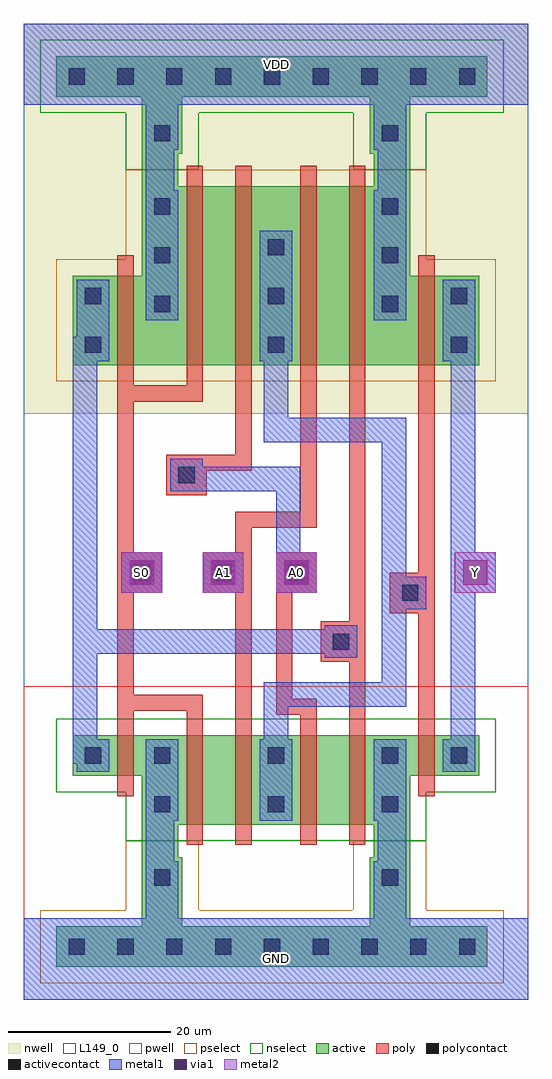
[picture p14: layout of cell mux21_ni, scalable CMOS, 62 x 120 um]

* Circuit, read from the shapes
.subckt mux21_ni A0 A1 GND S0 VDD Y
M1 GND S0 n1 GND nfet w=5u l=2u
M2 n2 S0 GND GND nfet w=11u l=2u
M3 n3 A1 n2 GND nfet w=11u l=2u
M4 n4 A0 n3 GND nfet w=11u l=2u
M5 GND n1 n4 GND nfet w=11u l=2u
M6 Y n3 GND GND nfet w=5u l=2u
M7 VDD S0 n1 VDD pfet w=11u l=2u
M8 n5 S0 VDD VDD pfet w=22u l=2u
M9 n3 A0 n5 VDD pfet w=22u l=2u
M10 n6 A1 n3 VDD pfet w=22u l=2u
M11 VDD n1 n6 VDD pfet w=22u l=2u
M12 Y n3 VDD VDD pfet w=11u l=2u
.ends

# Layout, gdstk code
import gdstk
lib = gdstk.Library(unit=1e-6, precision=1e-09)
def R(c, l, rs):  # rectangles x0, y0, x1, y1
    for r in rs: c.add(gdstk.rectangle(r[:2], r[2:], *l))
def A(c, l, x, y, w, h, nx, ny, dx, dy):  # array of equal rectangles
    R(c, l, [(x+i*dx, y+j*dy, x+i*dx+w, y+j*dy+h) for i in range(nx) for j in range(ny)])
def P(c, l, *ps):  # polygons
    for p in ps: c.add(gdstk.Polygon(p, *l))
pwell = (41, 0)
nwell = (42, 0)
active = (43, 0)
pselect = (44, 0)
nselect = (45, 0)
poly = (46, 0)
polycontact = (47, 0)
activecontact = (48, 0)
metal1 = (49, 0)
via1 = (50, 0)
metal2 = (51, 0)
L149_0 = (149, 0)

via = lib.new_cell('via')
R(via, metal1, [(-2.5,-2.5,2.5,2.5)])
R(via, via1, [(-1.5,-1.5,1.5,1.5)])
R(via, metal2, [(-2.5,-2.5,2.5,2.5)])

mux21_ni = lib.new_cell('mux21_ni')
R(mux21_ni, pwell, [(0,0,62,38.5)])
P(mux21_ni, pwell, [(8.5,15.5),(8.5,21.5),(0,21.5),(0,38.5),(62,38.5),(62,21.5),(53.5,21.5),(53.5,15.5)])
R(mux21_ni, nwell, [(0,72,62,120)])
P(mux21_ni, nwell, [(0,72),(0,95),(8.5,95),(8.5,106),(53.5,106),(53.5,95),(62,95),(62,72)])
R(mux21_ni, active, [(4,4,57,9), (14.5,9,19.5,17.5), (42.5,9,47.5,17.5), (14.5,17.5,19,21.5), (43,17.5,47.5,21.5), (6,27.5,11.5,32.5), (50.5,27.5,56,32.5), (6,78,11.5,89), (50.5,78,56,89), (14.5,100,19,104), (43,100,47.5,104), (14.5,104,19.5,111), (42.5,104,47.5,111), (4,111,57,116)])
P(mux21_ni, active, [(6,78),(6,89),(14.5,89),(14.5,100),(47.5,100),(47.5,89),(56,89),(56,78)],
  [(14.5,21.5),(14.5,27.5),(6,27.5),(6,32.5),(56,32.5),(56,27.5),(47.5,27.5),(47.5,21.5)])
R(mux21_ni, pselect, [(2,2,59,11), (12.5,11,21.5,19.5), (40.5,11,49.5,19.5)])
P(mux21_ni, pselect, [(4,76),(4,91),(12.5,91),(12.5,102),(49.5,102),(49.5,91),(58,91),(58,76)])
R(mux21_ni, nselect, [(12.5,102,21.5,109), (40.5,102,49.5,109), (2,109,59,118)])
P(mux21_ni, nselect, [(12.5,19.5),(12.5,25.5),(4,25.5),(4,34.5),(58,34.5),(58,25.5),(49.5,25.5),(49.5,19.5)])
R(mux21_ni, poly, [(20,19,22,21.5), (26,19,28,21.5), (34,19,36,21.5), (40,19,42,21.5), (20,21.5,22,32.5), (26,21.5,28,32.5), (34,21.5,36,32.5), (40,21.5,42,32.5), (11.5,25,13.5,27.5), (48.5,25,50.5,27.5), (11.5,27.5,13.5,32.5), (48.5,27.5,50.5,32.5), (11.5,32.5,13.5,35), (20,32.5,22,35), (26,32.5,28,35), (34,32.5,36,35), (40,32.5,42,35), (48.5,32.5,50.5,35), (36.5,41.5,41.5,46.5), (45,47.5,50,52.5), (12,50,17,55), (22,50,27,55), (31,50,36,55), (17.5,62,22.5,67), (11.5,75.5,13.5,78), (20,75.5,22,78), (26,75.5,28,78), (34,75.5,36,78), (40,75.5,42,78), (48.5,75.5,50.5,78), (11.5,78,13.5,89), (20,78,22,100), (26,78,28,100), (34,78,36,100), (40,78,42,100), (48.5,78,50.5,89), (11.5,89,13.5,91.5), (48.5,89,50.5,91.5), (20,100,22,102.5), (26,100,28,102.5), (34,100,36,102.5), (40,100,42,102.5)])
R(mux21_ni, polycontact, [(38,43,40,45), (46.5,49,48.5,51), (13.5,51.5,15.5,53.5), (23.5,51.5,25.5,53.5), (32.5,51.5,34.5,53.5), (19,63.5,21,65.5)])
A(mux21_ni, activecontact, 5.5, 5.5, 2, 2, 9, 2, 6, 107)
A(mux21_ni, activecontact, 16, 23, 2, 2, 3, 2, 14, 6)
A(mux21_ni, activecontact, 7.5, 79.5, 2, 2, 3, 2, 22.5, 6)
A(mux21_ni, activecontact, 16, 84.5, 2, 2, 1, 3, 0, 6)
A(mux21_ni, activecontact, 44, 84.5, 2, 2, 1, 3, 0, 6)
R(mux21_ni, activecontact, [(16,14,18,16), (44,14,46,16), (7.5,29,9.5,31), (52.5,29,54.5,31), (30,91.5,32,93.5), (16,105.5,18,107.5), (44,105.5,46,107.5)])
A(mux21_ni, metal1, 15, 22, 4, 10, 3, 1, 14, 0)
R(mux21_ni, metal1, [(0,0,62,10), (15,10,19,17), (43,10,47,17), (15,17,18.5,22), (43.5,17,47,22), (6.5,28,10.5,32), (51.5,28,55.5,32), (37,42,41,46), (45.5,48,49.5,52), (12.5,50.5,16.5,54.5), (22.5,50.5,26.5,54.5), (31.5,50.5,35.5,54.5), (18,62.5,22,66.5), (6.5,78.5,10.5,88.5), (29,78.5,33,94.5), (51.5,78.5,55.5,88.5), (15,83.5,19,99.5), (43,83.5,47,99.5), (15,99.5,18.5,104.5), (43.5,99.5,47,104.5), (15,104.5,19,110), (43,104.5,47,110), (0,110,62,120)])
R(mux21_ni, metal2, [(12,50,17,55), (22,50,27,55), (31,50,36,55), (53,50,58,55)])
R(mux21_ni, L149_0, [(0,0,62,120)])
mux21_ni.add(gdstk.FlexPath([(22,64),(32.5,64),(32.5,55)], 3, ends="flush", simple_path=True, layer=49, datatype=0))  # metal1
mux21_ni.add(gdstk.FlexPath([(37,44),(9,44)], 3, ends="flush", simple_path=True, layer=49, datatype=0))  # metal1
mux21_ni.add(gdstk.FlexPath([(7.5,81.5),(7.5,29)], 3, ends="flush", simple_path=True, layer=49, datatype=0))  # metal1
mux21_ni.add(gdstk.FlexPath([(31,78.5),(31,70),(45.5,70),(45.5,37.5),(31,37.5),(31,32)], 3, ends="flush", simple_path=True, layer=49, datatype=0))  # metal1
mux21_ni.add(gdstk.FlexPath([(54,32),(54,78.5)], 3, ends="flush", simple_path=True, layer=49, datatype=0))  # metal1
mux21_ni.add(gdstk.FlexPath([(41,75.5),(41,35)], 2, ends="flush", simple_path=True, layer=46, datatype=0))  # poly
mux21_ni.add(gdstk.FlexPath([(22,74.5),(13.5,74.5)], 2, ends="flush", simple_path=True, layer=46, datatype=0))  # poly
mux21_ni.add(gdstk.FlexPath([(21,35),(21,36.5),(13.5,36.5)], 2, ends="flush", simple_path=True, layer=46, datatype=0))  # poly
mux21_ni.add(gdstk.FlexPath([(27,54.5),(27,59),(35,59),(35,75.5)], 2, ends="flush", simple_path=True, layer=46, datatype=0))  # poly
mux21_ni.add(gdstk.FlexPath([(27,75.5),(27,66),(22.5,66)], 2, ends="flush", simple_path=True, layer=46, datatype=0))  # poly
mux21_ni.add(gdstk.FlexPath([(49.5,75.5),(49.5,35)], 2, ends="flush", simple_path=True, layer=46, datatype=0))  # poly
mux21_ni.add(gdstk.FlexPath([(27,35),(27,54.5)], 2, ends="flush", simple_path=True, layer=46, datatype=0))  # poly
mux21_ni.add(gdstk.FlexPath([(12.5,35),(12.5,75.5)], 2, ends="flush", simple_path=True, layer=46, datatype=0))  # poly
mux21_ni.add(gdstk.FlexPath([(32,50),(32,36),(36,36)], 2, ends="flush", simple_path=True, layer=46, datatype=0))  # poly
mux21_ni.add(gdstk.Reference(via, (14.5,52.5)))
mux21_ni.add(gdstk.Reference(via, (24.5,52.5)))
mux21_ni.add(gdstk.Reference(via, (55.5,52.5)))
mux21_ni.add(gdstk.Reference(via, (33.5,52.5)))
mux21_ni.add(gdstk.Label('S0', (14.5,52.5), layer=3, texttype=0))
mux21_ni.add(gdstk.Label('A1', (24.5,52.5), layer=3, texttype=0))
mux21_ni.add(gdstk.Label('A0', (33.5,52.5), layer=3, texttype=0))
mux21_ni.add(gdstk.Label('Y', (55.5,52.5), layer=3, texttype=0))
mux21_ni.add(gdstk.Label('GND', (31,5), layer=2, texttype=0))
mux21_ni.add(gdstk.Label('VDD', (31,115), layer=2, texttype=0))
mux21_ni.add(gdstk.Label('GND', (31,5), layer=2, texttype=0))
mux21_ni.add(gdstk.Label('VDD', (31,115), layer=2, texttype=0))
mux21_ni.add(gdstk.Label('S0', (14.5,52.5), layer=3, texttype=0))
mux21_ni.add(gdstk.Label('A1', (24.5,52.5), layer=3, texttype=0))
mux21_ni.add(gdstk.Label('A0', (33.5,52.5), layer=3, texttype=0))
mux21_ni.add(gdstk.Label('Y', (55.5,52.5), layer=3, texttype=0))

lib.write_gds('mux21_ni.gds')
